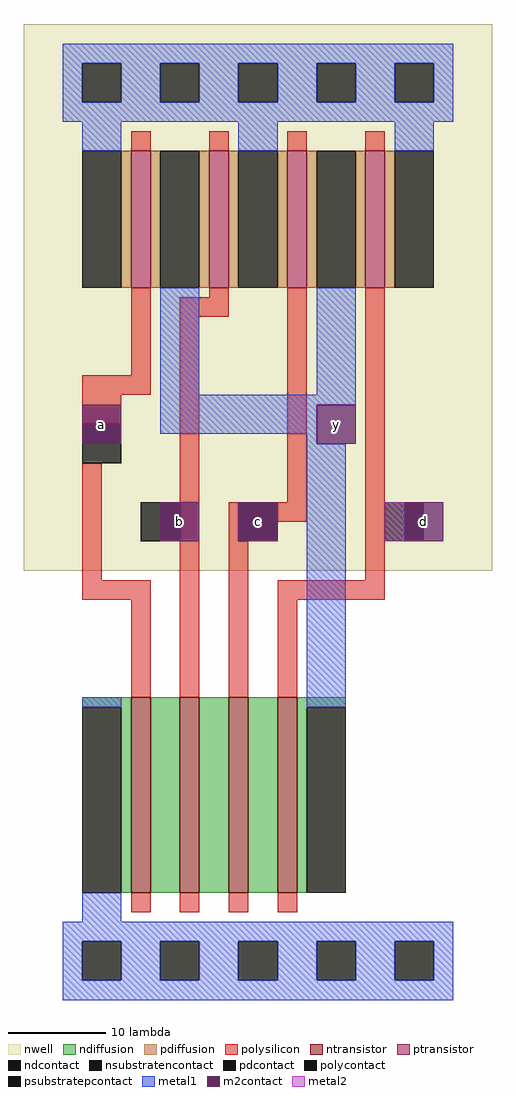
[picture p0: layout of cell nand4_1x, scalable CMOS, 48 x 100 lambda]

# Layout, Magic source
magic
tech scmos
<< nwell >>
rect -6 40 42 96
<< ntransistor >>
rect 5 7 7 27
rect 10 7 12 27
rect 15 7 17 27
rect 20 7 22 27
<< ptransistor >>
rect 5 69 7 83
rect 13 69 15 83
rect 21 69 23 83
rect 29 69 31 83
<< ndiffusion >>
rect 0 26 5 27
rect 4 7 5 26
rect 7 7 10 27
rect 12 7 15 27
rect 17 7 20 27
rect 22 26 27 27
rect 22 7 23 26
<< pdiffusion >>
rect 4 69 5 83
rect 7 69 8 83
rect 12 69 13 83
rect 15 69 16 83
rect 20 69 21 83
rect 23 69 24 83
rect 28 69 29 83
rect 31 69 32 83
<< ndcontact >>
rect 0 7 4 26
rect 23 7 27 26
<< pdcontact >>
rect 0 69 4 83
rect 8 69 12 83
rect 16 69 20 83
rect 24 69 28 83
rect 32 69 36 83
<< psubstratepcontact >>
rect 0 -2 4 2
rect 8 -2 12 2
rect 16 -2 20 2
rect 24 -2 28 2
rect 32 -2 36 2
<< nsubstratencontact >>
rect 0 88 4 92
rect 8 88 12 92
rect 16 88 20 92
rect 24 88 28 92
rect 32 88 36 92
<< polysilicon >>
rect 5 83 7 85
rect 13 83 15 85
rect 21 83 23 85
rect 29 83 31 85
rect 5 60 7 69
rect 13 68 15 69
rect 0 58 7 60
rect 10 66 15 68
rect 0 55 4 58
rect 0 39 2 51
rect 0 37 7 39
rect 5 27 7 37
rect 10 27 12 66
rect 21 47 23 69
rect 15 43 16 47
rect 20 45 23 47
rect 15 27 17 43
rect 29 39 31 69
rect 20 37 31 39
rect 20 27 22 37
rect 5 5 7 7
rect 10 5 12 7
rect 15 5 17 7
rect 20 5 22 7
<< polycontact >>
rect 0 51 4 55
rect 6 43 10 47
rect 16 43 20 47
rect 31 43 35 47
<< metal1 >>
rect -2 92 38 94
rect -2 88 0 92
rect 4 88 8 92
rect 12 88 16 92
rect 20 88 24 92
rect 28 88 32 92
rect 36 88 38 92
rect -2 86 38 88
rect 0 83 4 86
rect 16 83 20 86
rect 32 83 36 86
rect 8 58 12 69
rect 24 58 28 69
rect 8 57 28 58
rect 8 54 24 57
rect 23 53 24 54
rect 0 26 4 27
rect 23 26 27 53
rect 0 4 4 7
rect -2 2 38 4
rect -2 -2 0 2
rect 4 -2 8 2
rect 12 -2 16 2
rect 20 -2 24 2
rect 28 -2 32 2
rect 36 -2 38 2
rect -2 -4 38 -2
<< m2contact >>
rect 0 55 4 57
rect 0 53 4 55
rect 24 53 28 57
rect 8 43 10 47
rect 10 43 12 47
rect 16 43 20 47
rect 33 43 35 47
rect 35 43 37 47
<< metal2 >>
rect 31 43 33 47
<< labels >>
rlabel m2contact 35 45 35 45 1 d
rlabel m2contact 26 55 26 55 1 y
rlabel m2contact 18 45 18 45 1 c
rlabel m2contact 10 45 10 45 1 b
rlabel m2contact 2 55 2 55 1 a
<< end >>
